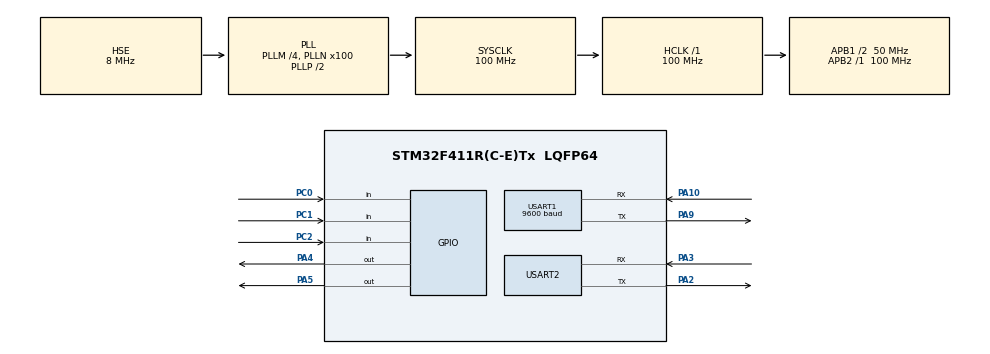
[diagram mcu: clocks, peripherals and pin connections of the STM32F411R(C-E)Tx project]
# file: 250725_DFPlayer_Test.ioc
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Mcu.Family=STM32F4
Mcu.Name=STM32F411R(C-E)Tx
Mcu.Package=LQFP64
NVIC.PriorityGroup=NVIC_PRIORITYGROUP_4
NVIC.TIM2_IRQn=true\:0\:0\:false\:false\:true\:true\:true\:true
PA10.Mode=Asynchronous
PA10.Signal=USART1_RX
PA13.Mode=Serial_Wire
PA13.Signal=SYS_JTMS-SWDIO
PA14.Mode=Serial_Wire
PA14.Signal=SYS_JTCK-SWCLK
PA2.Mode=Asynchronous
PA2.Signal=USART2_TX
PA3.Mode=Asynchronous
PA3.Signal=USART2_RX
PA4.Signal=GPIO_Output
PA5.Signal=GPIO_Output
PA9.Mode=Asynchronous
PA9.Signal=USART1_TX
PC0.Signal=GPIO_Input
PC1.Signal=GPIO_Input
PC2.Signal=GPIO_Input
PH0\ -\ OSC_IN.Mode=HSE-External-Oscillator
PH0\ -\ OSC_IN.Signal=RCC_OSC_IN
PH1\ -\ OSC_OUT.Mode=HSE-External-Oscillator
PH1\ -\ OSC_OUT.Signal=RCC_OSC_OUT
ProjectManager.HeapSize=0x200
ProjectManager.StackSize=0x400
ProjectManager.TargetToolchain=STM32CubeIDE
RCC.48MHZClocksFreq_Value=50000000
RCC.AHBFreq_Value=100000000
RCC.APB1CLKDivider=RCC_HCLK_DIV2
RCC.APB1Freq_Value=50000000
RCC.APB1TimFreq_Value=100000000
RCC.APB2Freq_Value=100000000
RCC.APB2TimFreq_Value=100000000
RCC.CortexFreq_Value=100000000
RCC.HCLKFreq_Value=100000000
RCC.HSE_VALUE=8000000
RCC.HSI_VALUE=16000000
RCC.LSE_VALUE=32768
RCC.PLLM=4
RCC.PLLN=100
RCC.PLLSourceVirtual=RCC_PLLSOURCE_HSE
RCC.SYSCLKFreq_VALUE=100000000
RCC.SYSCLKSource=RCC_SYSCLKSOURCE_PLLCLK
RCC.VCOOutputFreq_Value=200000000
TIM2.AutoReloadPreload=TIM_AUTORELOAD_PRELOAD_ENABLE
TIM2.Period=1000-1
TIM2.Prescaler=16-1
USART1.BaudRate=9600
USART1.VirtualMode=VM_ASYNC
USART2.VirtualMode=VM_ASYNC
VP_TIM2_VS_ClockSourceINT.Mode=Internal
board=custom

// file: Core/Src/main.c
/* USER CODE BEGIN Header */
/**
  ******************************************************************************
  * @file           : main.c
  * @brief          : Main program body
  ******************************************************************************
  * @attention
  *
  * Copyright (c) 2025 STMicroelectronics.
  * All rights reserved.
  *
  * This software is licensed under terms that can be found in the LICENSE file
  * in the root directory of this software component.
  * If no LICENSE file comes with this software, it is provided AS-IS.
  *
  ******************************************************************************
  */
/* USER CODE END Header */
#include "main.h"
#include "tim.h"
#include "usart.h"
#include "gpio.h"

/* USER CODE BEGIN Includes */
#include "DFPLAYER_MINI.h"
#include "Ultra.h"
#include "Button.h"
#include <stdio.h>
#include "string.h"
/* USER CODE END Includes */

void SystemClock_Config(void);

/* USER CODE BEGIN 0 */
int __io_putchar(int ch)
{
	HAL_UART_Transmit(&huart2, (uint8_t *)&ch, 1, 1000);

	return ch;
}

extern uint16_t distance;
extern uint32_t echoTime;

/* USER CODE END 0 */

int main(void)
{

  /* MCU Configuration--------------------------------------------------------*/

  /* Reset of all peripherals, Initializes the Flash interface and the Systick. */
  HAL_Init();

  /* USER CODE BEGIN Init */
//  DF_Init(30);
  /* USER CODE END Init */

  /* Configure the system clock */
  SystemClock_Config();

  /* Initialize all configured peripherals */
  MX_GPIO_Init();
  MX_TIM2_Init();
  MX_USART2_UART_Init();
  MX_USART1_UART_Init();
  /* USER CODE BEGIN 2 */

  Button_Init(&hBtnClick1, GPIOC, GPIO_PIN_0);
  Button_Init(&hBtnClick2, GPIOC, GPIO_PIN_1);
  Button_Init(&hBtnClick3, GPIOC, GPIO_PIN_2);
  DF_Init(0x1e);

  //Initial 0001 mp3 sound
//  DF_PlayFromStart();

//  if(Button_GetState(&hBtnClick1) == ACT_RELEASED){
//	  Send_cmd(0x03, 0x00, 0x01);
//  }
//  else if(Button_GetState(&hBtnClick2) == ACT_RELEASED){
//	  Send_cmd(0x03, 0x00, 0x02);
//  }
//  else if(Button_GetState(&hBtnClick3) == ACT_RELEASED){
//	  Send_cmd(0x03, 0x00, 0x03);
//  }
  /* USER CODE END 2 */

  /* Infinite loop */
  /* USER CODE BEGIN WHILE */
  while (1)
  {
	  	  Send_cmd(0x03, 0x00, 0x01);
	  	  HAL_Delay(500);
//	  	  Send_cmd(0x03, 0x00, 0x02);
//	  	  HAL_Delay(500);
	  	  Send_cmd(0x03, 0x00, 0x03);
	  	  HAL_Delay(500);
//	  	  Send_cmd(0x03, 0x00, 0x04);
//	  	  HAL_Delay(500);
	  	  Send_cmd(0x03, 0x00, 0x05);
	  	  HAL_Delay(500);
	  	  Send_cmd(0x03, 0x00, 0x06);
	  	  HAL_Delay(500);
//	  	  Send_cmd(0x03, 0x00, 0x07);
//	  	  HAL_Delay(500);
	  	  Send_cmd(0x03, 0x00, 0x08);
	  	  HAL_Delay(500);
//	  	  Send_cmd(0x03, 0x00, 0x09);
//	  	  HAL_Delay(500);
	  	  Send_cmd(0x03, 0x00, 0x0a);
//	  	  HAL_Delay(500);
//	  	  Send_cmd(0x03, 0x00, 0x0b);
//	  	  Send_cmd(0x03, 0x00, 0x0c);
//	  	  Send_cmd(0x03, 0x00, 0x0d);
	  	  HAL_Delay(5000);
	  //  }

//	  Check_Key();

	  /// ultra callback
//	  Ultra_RunCallBack();
//
//      if(1 <= distance && distance < 5){
//    	  //play DO (play, 0000 file)
//    	  Send_cmd(0x03,0x00,0x00);
//      }
//      else if(5 <= distance && distance < 10){
//    	  //play RE (play, 0001 file)
//    	  Send_cmd(0x03,0x00,0x01);
//      }
//      else if(11 <= distance && distance < 15){
//    	  //play MI (play, 0002 file)
//    	  Send_cmd(0x03,0x00,0x02);
//      }
//      else if(15 <= distance && distance < 20){
//    	  //play PA (play, 0003 file)
//    	  Send_cmd(0x03,0x00,0x03);
//      }
//      else if(20 <= distance && distance < 25){
//    	  //play SOL (play, 0004 file)
//    	  Send_cmd(0x03,0x00,0x04);
//      }
//      else if(25 <= distance && distance < 30){
//    	  //play LA (play, 0005 file)
//    	  Send_cmd(0x03,0x00,0x05);
//      }
//      else if(30 <= distance && distance < 35){
//    	  //play SI (play, 0006 file)
//    	  Send_cmd(0x03,0x00,0x06);
//      }
//      else if(35 <= distance && distance < 40){
//    	  //play LA (play, 0007 file)
//    	  Send_cmd(0x03,0x00,0x07);
//      }
//
//	  char str[50];
//	  sprintf(str, "distance = %d \n", distance);
//	  HAL_UART_Transmit(&huart2, &str, strlen(str), 10);

//	  HAL_Delay(500);

    /* USER CODE END WHILE */

  }
}

void SystemClock_Config(void)
{
  RCC_OscInitTypeDef RCC_OscInitStruct = {0};
  RCC_ClkInitTypeDef RCC_ClkInitStruct = {0};

  /** Configure the main internal regulator output voltage
  */
  __HAL_RCC_PWR_CLK_ENABLE();
  __HAL_PWR_VOLTAGESCALING_CONFIG(PWR_REGULATOR_VOLTAGE_SCALE1);

  /** Initializes the RCC Oscillators according to the specified parameters
  * in the RCC_OscInitTypeDef structure.
  */
  RCC_OscInitStruct.OscillatorType = RCC_OSCILLATORTYPE_HSE;
  RCC_OscInitStruct.HSEState = RCC_HSE_ON;
  RCC_OscInitStruct.PLL.PLLState = RCC_PLL_ON;
  RCC_OscInitStruct.PLL.PLLSource = RCC_PLLSOURCE_HSE;
  RCC_OscInitStruct.PLL.PLLM = 4;
  RCC_OscInitStruct.PLL.PLLN = 100;
  RCC_OscInitStruct.PLL.PLLP = RCC_PLLP_DIV2;
  RCC_OscInitStruct.PLL.PLLQ = 4;
  if (HAL_RCC_OscConfig(&RCC_OscInitStruct) != HAL_OK)
  {
    Error_Handler();
  }

  /** Initializes the CPU, AHB and APB buses clocks
  */
  RCC_ClkInitStruct.ClockType = RCC_CLOCKTYPE_HCLK|RCC_CLOCKTYPE_SYSCLK
                              |RCC_CLOCKTYPE_PCLK1|RCC_CLOCKTYPE_PCLK2;
  RCC_ClkInitStruct.SYSCLKSource = RCC_SYSCLKSOURCE_PLLCLK;
  RCC_ClkInitStruct.AHBCLKDivider = RCC_SYSCLK_DIV1;
  RCC_ClkInitStruct.APB1CLKDivider = RCC_HCLK_DIV2;
  RCC_ClkInitStruct.APB2CLKDivider = RCC_HCLK_DIV1;

  if (HAL_RCC_ClockConfig(&RCC_ClkInitStruct, FLASH_LATENCY_3) != HAL_OK)
  {
    Error_Handler();
  }
}

/* USER CODE BEGIN 4 */
// ultra callback
//  void HAL_TIM_PeriodElapsedCallback(TIM_HandleTypeDef *htim)
// {
//  	if(htim->Instance == TIM2) {
//  		Ultra_RunCallBack();
//  	}
//  }
/* USER CODE END 4 */

void Error_Handler(void)
{
  __disable_irq();
  while (1)
  {
  }
}
